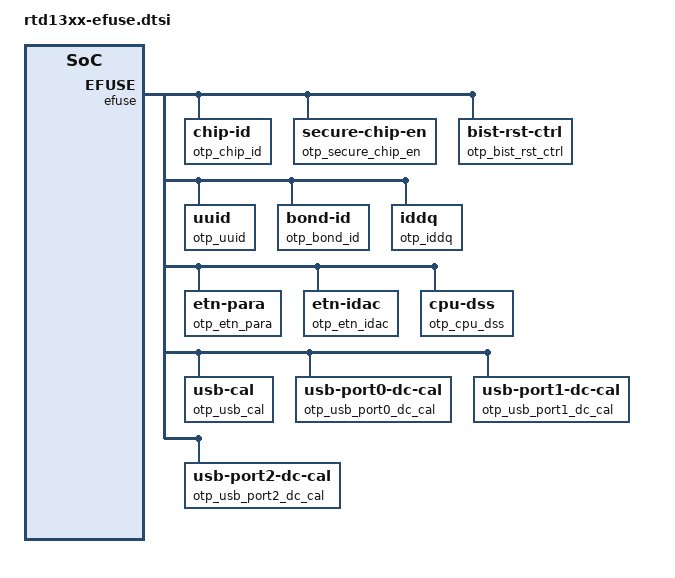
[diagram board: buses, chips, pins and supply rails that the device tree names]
// SPDX-License-Identifier: GPL-2.0
/* Copyright (C) 2019-2020 Realtek Semiconductor Corporation
 */
&efuse {
	otp_chip_id: chip-id@3cc,0 {
		reg = <0x3cc 0x10>;
	};
	otp_secure_chip_en: secure-chip-en@3fd,2 {
		reg = <0x3fd 0x1>;
		bits = <2 3>;
	};
	otp_bist_rst_ctrl: bist-rst-ctrl@406,5 {
		reg = <0x406 0x1>;
		bits = <5 2>;
	};
	otp_uuid: uuid@478,0 {
		reg = <0x478 0xc>;
	};
	otp_bond_id: bond-id@4f4,0 {
		reg = <0x4f4 0x4>;
	};
	otp_iddq: iddq@4f8,0 {
		reg = <0x4f8 0x2>;
	};
	otp_etn_para: etn-para@4fc,0 {
		reg = <0x4fc 0x1>;
		bits = <0 5>;
	};
	otp_etn_idac: etn-idac@500,0 {
		reg = <0x500 0x1>;
	};
	otp_cpu_dss: cpu-dss@514,0 {
		reg = <0x514 0x13>;
		bits = <0 148>;
	};
	otp_usb_cal: usb-cal@528,0 {
		reg = <0x528 0xa>;
		bits = <0 77>;
	};
	otp_usb_port0_dc_cal: usb-port0-dc-cal@534,0 {
		reg = <0x534 0x1>;
		bits = <0 4>;
	};
	otp_usb_port1_dc_cal: usb-port1-dc-cal@534,4 {
		reg = <0x534 0x1>;
		bits = <4 4>;
	};
	otp_usb_port2_dc_cal: usb-port2-dc-cal@535,0 {
		reg = <0x535 0x1>;
		bits = <0 4>;
	};
};
